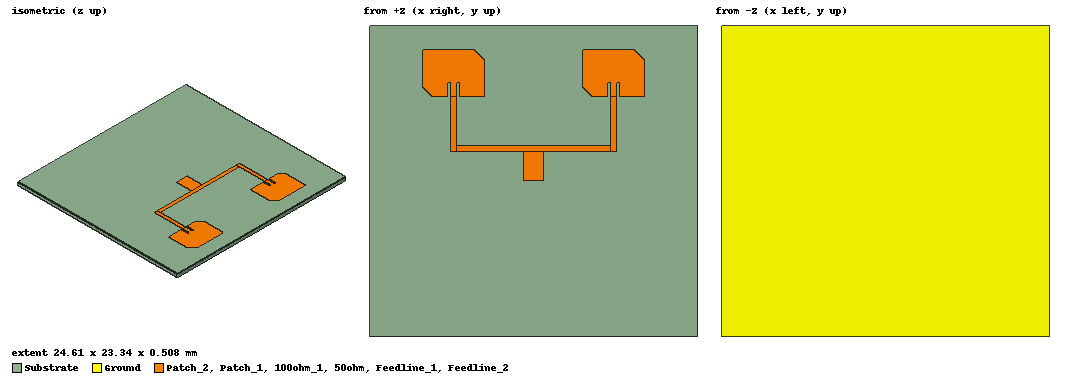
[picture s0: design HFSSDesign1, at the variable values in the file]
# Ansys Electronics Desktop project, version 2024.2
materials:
  vacuum: permittivity=1
  Rogers RT/duroid 5880 (tm): permittivity=2.2 dielectric_loss_tangent=0.0009

design HFSSDesign1 (HFSS, HFSS Terminal Network, model units mm)
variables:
  Lg = 11.67mm
  Wg = 24.61mm
  Hs = 0.508mm
  Ls = 11.67mm
  Ws = 24.61mm
  Wf = 1.565mm
  Lf = 2.2mm
  Lp = 3.51mm
  Wp = 4.591mm
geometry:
  Ground = rectangle(corner=(-Lg/2, -Wg/2, 0mm), x_size=Lg, y_size=Wg)
  Substrate [Rogers RT/duroid 5880 (tm)] = box(corner=(-Lg/2, -Wg/2, 0), size=(Ls, Ws, Hs))
  50ohm = rectangle(corner=(11.67mm/2 - Lf, -Wf/2, 0.508mm), x_size=Lf, y_size=Wf)
  100ohm_1 = rectangle(corner=(11.67mm/2 - Lf - 0.455mm, -11.545mm/2, 0.508mm), x_size=0.455mm, y_size=11.545mm)
  Patch_1 = rectangle(corner=(-4mm, -11.545mm/2 - Wp/2 - 0.455mm/2, Hs), x_size=Lp, y_size=Wp)
  Feedline_1 = rectangle(corner=(3.635mm, -0.455mm-11.545mm/2, 0.508mm), x_size=-4.135mm, y_size=0.455mm)
  Feedline_2 = rectangle(corner=(3.635mm, 11.545mm/2, 0.508mm), x_size=-4.135mm, y_size=0.455mm)
  Cut_1 = rectangle(corner=(-1.52mm, -11.545mm/2, 0.508mm), x_size=1.2mm, y_size=0.2mm)
  Patch_1.subtract(Cut_1)
  Cut_2 = rectangle(corner=(-1.52mm, -11.545mm/2-0.455mm-0.2mm, 0.508mm), x_size=1.2mm, y_size=0.2mm)
  Patch_1.subtract(Cut_2)
  Patch_2 = rectangle(corner=(-4mm, 11.545mm/2 -Wp/2 +0.455mm/2, 0.508mm), x_size=Lp, y_size=Wp)
  Cut_3 = rectangle(corner=(-1.52mm, 11.545mm/2-0.2mm, 0.508mm), x_size=1.2mm, y_size=0.2mm)
  Patch_2.subtract(Cut_3)
  Cut_4 = rectangle(corner=(-1.52mm, 11.545mm/2+0.455mm, 0.508mm), x_size=1.2mm, y_size=0.2mm)
  Patch_2.subtract(Cut_4)
  [Ground, Substrate, 50ohm, 100ohm_1, Patch_1, Feedline_1, Feedline_2, Patch_2].rotate(axis=Z, angle=270deg)
  Polyline1 = polyline(z=0.508mm, xy in mm: (-4.4065, 4) (-3.7045, 3.298) (-3.7045, 4) (-4.4065, 4), closed, covered)
  Polyline2 = polyline(z=0.508mm, xy in mm: (-8.2955, 1.192) (-7.5935, 0.49) (-8.2955, 0.49) (-8.2955, 1.192), closed, covered)
  Patch_1.subtract(Polyline1, Polyline2)
  Polyline3 = polyline(z=0.508mm, xy in mm: (7.5935, 4) (8.2955, 3.298) (8.2955, 4) (7.5935, 4), closed, covered)
  Polyline4 = polyline(z=0.508mm, xy in mm: (3.7045, 1.192) (3.7045, 0.49) (4.4065, 0.49) (3.7045, 1.192), closed, covered)
  Patch_2.subtract(Polyline3, Polyline4)
  Ground_2 = rectangle(corner=(-12.305mm, -5.835mm, 0mm), x_size=24.61mm, y_size=-11.67mm)
  Substrate_2 = box(corner=(-12.305mm, -5.835mm, 0mm), size=(24.61mm, -11.67mm, 0.508mm))
  Ground.unite(Ground_2)
  Substrate.unite(Substrate_2)
